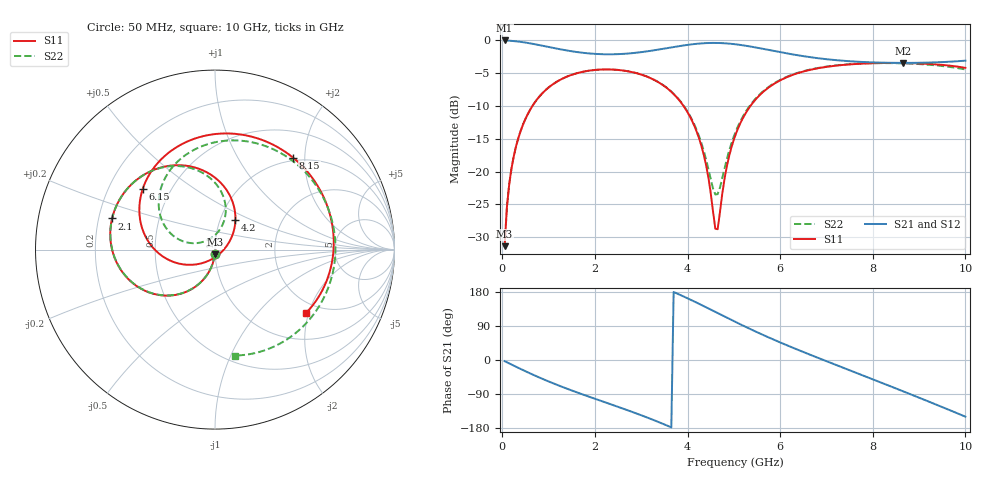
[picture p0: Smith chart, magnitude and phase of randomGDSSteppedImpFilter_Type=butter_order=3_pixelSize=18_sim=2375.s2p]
! freq	dB(S11)	phase(S11)	dB(S12)	phase(S12)
!  dB(S21)	phase(S21)	dB(S22)	phase(S22)
!S-par simulation data
#  GHz  S  DB  R 50
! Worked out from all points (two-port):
!   200 points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, 50 MHz to 10 GHz, reference 50 ohm
!   highest |S21| = -0.01 dB at 50 MHz (marker M1); lowest = -3.4 dB at 8.65 GHz (marker M2)
!   |S21| within 3 dB of the highest: start of sweep to 7.2 GHz
!   lowest |S11| = -31.4 dB at 50 MHz (marker M3), VSWR 1.06, Z = 49.8 - j2.69 ohm
!   |S11| at or under -10 dB: start of sweep to 650 MHz; 3.914 GHz to 5.358 GHz (1.444 GHz wide, 31.2 % of centre)
!   |S22| runs from -31.4 to -3.5 dB; largest |S21 - S12| = 0
!   S11 on the Smith chart (normalised r, x): 50 MHz: 1.00, -0.05; 2.1 GHz: 0.26, +0.14; 4.2 GHz: 1.18, +0.41; 6.15 GHz: 0.35, +0.32; 8.15 GHz: 0.94, +1.76; 10 GHz: 1.67, -1.92
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0.05  -31.37 -93.1  -0.01 -3.1  -0.01 -3.1  -31.37 -93.1
0.1  -25.38 -96.4  -0.02 -6.1  -0.02 -6.1  -25.38 -96.4
0.2  -19.45 -102.6  -0.07 -12.1  -0.07 -12.1  -19.45 -102.6
0.5  -11.96 -120.1  -0.33 -29.7  -0.33 -29.7  -11.96 -120.3
1.05  -6.90 -149.4  -1.07 -59.1  -1.07 -59.1  -6.90 -149.7
1.75  -4.76 178.2  -1.90 -91.5  -1.90 -91.5  -4.77 177.8
2.1  -4.45 163.2  -2.09 -106.6  -2.09 -106.6  -4.45 162.9
2.8  -4.83 132.9  -1.95 -136.7  -1.95 -136.7  -4.82 133.2
3.4  -6.50 104.3  -1.37 -164.9  -1.37 -164.9  -6.48 106.6
4.2  -13.95 55.4  -0.51 151.2  -0.51 151.2  -13.70 73.5
4.65  -28.79 -69.3  -0.39 123.9  -0.39 123.9  -23.44 128.6
4.85  -19.16 -135.4  -0.46 111.7  -0.46 111.7  -18.06 163.6
5.05  -14.13 -155.2  -0.60 99.6  -0.60 99.6  -13.73 164.5
5.6  -8.06 169.1  -1.24 67.8  -1.24 67.8  -7.95 141.6
6.15  -5.59 140.1  -1.98 38.7  -1.98 38.7  -5.52 114.0
6.7  -4.41 114.0  -2.61 11.3  -2.61 11.3  -4.36 86.4
7.35  -3.74 84.9  -3.10 -19.9  -3.10 -19.9  -3.71 54.1
8.15  -3.45 49.7  -3.38 -58.1  -3.38 -58.1  -3.46 14.0
8.35  -3.44 40.9  -3.41 -67.8  -3.41 -67.8  -3.46 4.0
8.65  -3.45 27.5  -3.43 -82.3  -3.43 -82.3  -3.50 -11.1
9.35  -3.65 -4.2  -3.35 -116.7  -3.35 -116.7  -3.79 -46.3
10  -4.18 -35.0  -3.09 -149.5  -3.09 -149.5  -4.43 -79.2
